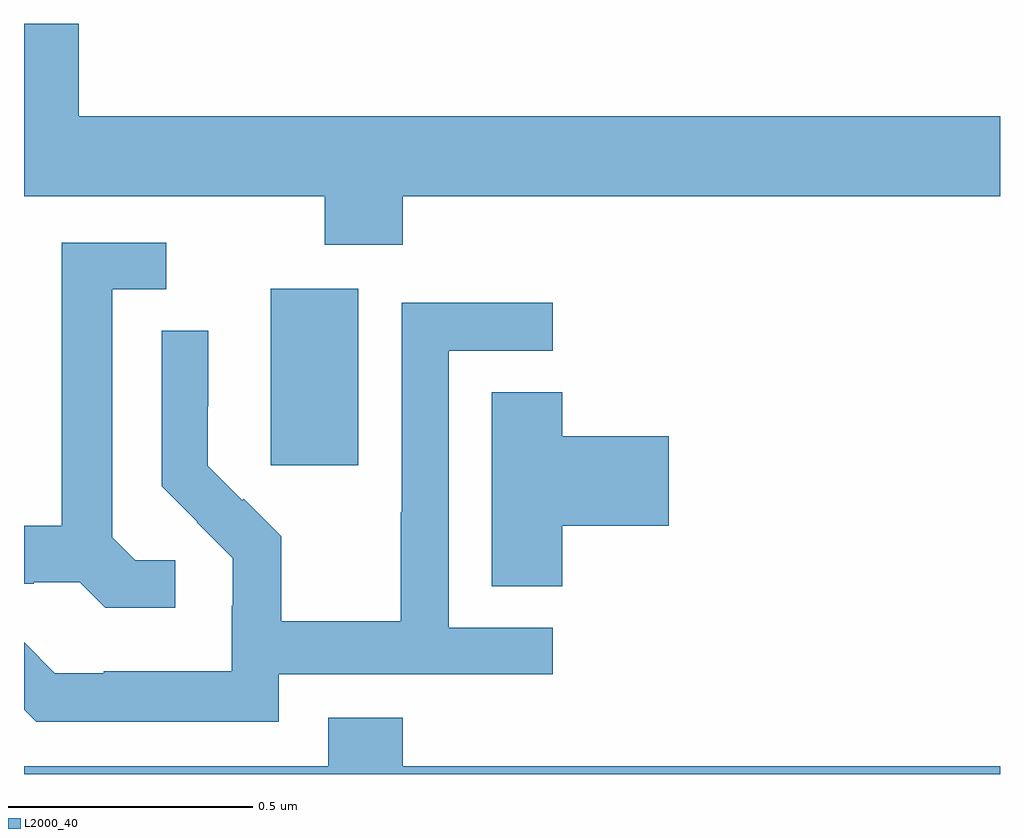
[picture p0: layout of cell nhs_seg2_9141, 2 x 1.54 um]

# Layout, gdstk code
import gdstk
lib = gdstk.Library(unit=1e-6, precision=1e-09)
def R(c, l, rs):  # rectangles x0, y0, x1, y1
    for r in rs: c.add(gdstk.rectangle(r[:2], r[2:], *l))
def P(c, l, *ps):  # polygons
    for p in ps: c.add(gdstk.Polygon(p, *l))
L2000_40 = (2000, 40)

nhs_seg2_9141 = lib.new_cell('nhs_seg2_9141')
R(nhs_seg2_9141, L2000_40, [(225.506,632.433,225.685,632.794)])
P(nhs_seg2_9141, L2000_40, [(225.776,632.984),(227,632.984),(227,633.148),(225.112,633.148),(225.112,633.337),(225,633.337),(225,632.984),(225.616,632.984),(225.616,632.885),(225.776,632.885)],
  [(225.31,632.238),(225.228,632.238),(225.181,632.285),(225.181,632.793),(225.292,632.793),(225.292,632.889),(225.077,632.889),(225.077,632.309),(225,632.309),(225,632.19),(225.02,632.19),(225.02,632.193),(225.114,632.193),(225.166,632.141),(225.31,632.141)],
  [(225.522,632.004),(226.084,632.004),(226.084,632.1),(225.87,632.1),(225.87,632.667),(226.084,632.667),(226.084,632.766),(225.774,632.766),(225.774,632.336),(225.772,632.336),(225.772,632.113),(225.527,632.113),(225.527,632.287),(225.45,632.364),(225.447,632.361),(225.377,632.432),(225.377,632.554),(225.378,632.554),(225.378,632.708),(225.282,632.708),(225.282,632.39),(225.355,632.317),(225.354,632.316),(225.428,632.242),(225.428,632.145),(225.426,632.145),(225.426,632.011),(225.163,632.011),(225.163,632.007),(225.063,632.007),(225,632.07),(225,631.932),(225.025,631.907),(225.522,631.907)],
  [(226.103,632.309),(226.321,632.309),(226.321,632.492),(226.103,632.492),(226.103,632.582),(225.959,632.582),(225.959,632.185),(226.103,632.185)],
  [(227,631.816),(225.776,631.816),(225.776,631.915),(225.623,631.915),(225.623,631.816),(225,631.816),(225,631.8),(227,631.8)])

lib.write_gds('nhs_seg2_9141.gds')
